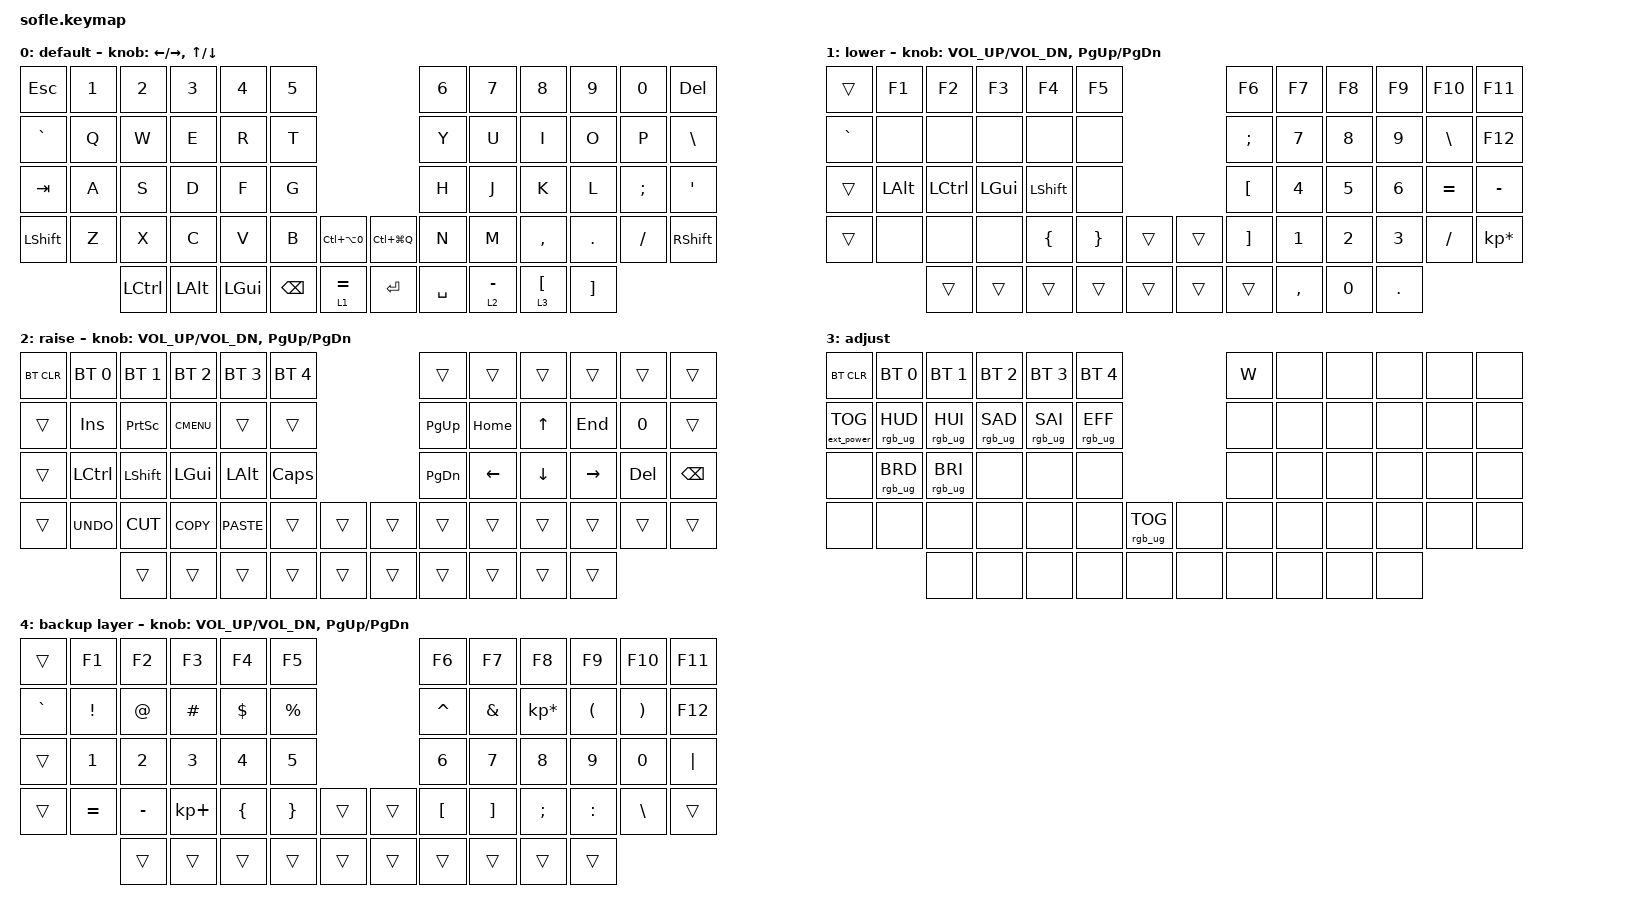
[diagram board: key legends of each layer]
/*
 * Copyright (c) 2020 The ZMK Contributors
 *
 * SPDX-License-Identifier: MIT
 */

#include <behaviors.dtsi>
#include <dt-bindings/zmk/bt.h>
#include <dt-bindings/zmk/ext_power.h>
#include <dt-bindings/zmk/keys.h>
#include <dt-bindings/zmk/rgb.h>

#define BASE 0
#define LOWER 1
#define RAISE 2
#define ADJUST 3

/ {
    // Activate ADJUST layer by pressing raise and lower

    conditional_layers {
        compatible = "zmk,conditional-layers";

        adjust_layer {
            if-layers = <1 2>;
            then-layer = <3>;
        };
    };

    behaviors {
        hold_tap: hold_tap {
            compatible = "zmk,behavior-hold-tap";
            label = "HOLD_TAP";
            bindings = <&mo>, <&kp>;

            #binding-cells = <2>;
            flavor = "tap-preferred";
            tapping-term-ms = <199>;
        };
    };

    keymap {
        compatible = "zmk,keymap";

        default_layer {
            label = "default";

            // ------------------------------------------------------------------------------------------------------------
            // |   `   |  1  |  2  |  3   |  4   |  5   |                   |  6   |  7    |  8    |  9   |   0   |       |
            // |  ESC  |  Q  |  W  |  E   |  R   |  T   |                   |  Y   |  U    |  I    |  O   |   P   | BKSPC |
            // |  TAB  |  A  |  S  |  D   |  F   |  G   |                   |  H   |  J    |  K    |  L   |   ;   |   '   |
            // | SHIFT |  Z  |  X  |  C   |  V   |  B   |  MUTE  |  |       |  N   |  M    |  ,    |  .   |   /   | SHIFT |
            //               | GUI | ALT  | CTRL | LOWER|  ENTER |  | SPACE | RAISE| CTRL  | ALT   | GUI  |

            bindings = <
&kp ESC     &kp N1  &kp N2            &kp N3        &kp N4        &kp N5                                                &kp N6     &kp N7             &kp N8                    &kp N9             &kp N0    &kp DEL
&kp GRAVE   &kp Q   &kp W             &kp E         &kp R         &kp T                                                 &kp Y      &kp U              &kp I                     &kp O              &kp P     &kp BACKSLASH
&kp TAB     &kp A   &kp S             &kp D         &kp F         &kp G                                                 &kp H      &kp J              &kp K                     &kp L              &kp SEMI  &kp SQT
&kp LSHIFT  &kp Z   &kp X             &kp C         &kp V         &kp B          &kp LC(LA(NUMBER_0))    &kp LC(LG(Q))  &kp N      &kp M              &kp COMMA                 &kp DOT            &kp FSLH  &kp RSHFT
                    &kp LEFT_CONTROL  &kp LEFT_ALT  &kp LEFT_GUI  &kp BACKSPACE  &hold_tap 1 EQUAL       &kp RET        &kp SPACE  &hold_tap 2 MINUS  &hold_tap 3 LEFT_BRACKET  &kp RIGHT_BRACKET
            >;

            sensor-bindings =
                <&inc_dec_kp LEFT_ARROW RIGHT_ARROW>,
                <&inc_dec_kp UP_ARROW DOWN_ARROW>;
        };

        lower_layer {
            label = "lower";

            // TODO: Some binds are waiting for shifted keycode support.
            // ------------------------------------------------------------------------------------------------------------
            // |       |  F1 |  F2 |  F3  |  F4  |  F5  |                   |  F6  |  F7   |  F8   |  F9  |  F10  |  F11  |
            // |   `   |  1  |  2  |  3   |  4   |  5   |                   |  6   |  7    |  8    |  9   |   0   |  F12  |
            // |       |  !  |  @  |  #   |  $   |  %   |                   |  ^   |  &    |  *    |  (   |   )   |   |   |
            // |       |  =  |  -  |  +   |  {   |  }   |        |  |       |  [   |  ]    |  ;    |  :   |   \   |       |
            //               |     |      |      |      |        |  |       |      |       |       |      |

            bindings = <
&trans     &kp F1    &kp F2     &kp F3    &kp F4      &kp F5                      &kp F6             &kp F7     &kp F8  &kp F9   &kp F10        &kp F11
&kp GRAVE  &none     &none      &none     &none       &none                       &kp SEMICOLON      &kp N7     &kp N8  &kp N9   &kp BACKSLASH  &kp F12
&trans     &kp LALT  &kp LCTRL  &kp LGUI  &kp LSHIFT  &none                       &kp LEFT_BRACKET   &kp N4     &kp N5  &kp N6   &kp EQUAL      &kp MINUS
&trans     &none     &none      &none     &kp LBRC    &kp RBRC  &trans    &trans  &kp RIGHT_BRACKET  &kp N1     &kp N2  &kp N3   &kp SLASH      &kp KP_MULTIPLY
                     &trans     &trans    &trans      &trans    &trans    &trans  &trans             &kp COMMA  &kp N0  &kp DOT
            >;

            sensor-bindings = <&inc_dec_kp C_VOL_UP C_VOL_DN &inc_dec_kp PG_UP PG_DN>;
        };

        raise_layer {
            label = "raise";

            // ------------------------------------------------------------------------------------------------------------
            // | BTCLR | BT1  | BT2  |  BT3  |  BT4  |  BT5 |                |      |      |       |      |       |       |
            // |       | INS  | PSCR | GUI   |       |      |                | PGUP |      |   ^   |      |       |       |
            // |       | ALT  | CTRL | SHIFT |       | CAPS |                | PGDN |   <- |   v   |  ->  |  DEL  | BKSPC |
            // |       | UNDO | CUT  | COPY  | PASTE |      |      |  |      |      |      |       |      |       |       |
            //                |      |       |       |      |      |  |      |      |      |       |      |

            bindings = <
&bt BT_CLR  &bt BT_SEL 0  &bt BT_SEL 1  &bt BT_SEL 2  &bt BT_SEL 3  &bt BT_SEL 4                    &trans     &trans    &trans    &trans     &trans   &trans
&trans      &kp INS       &kp PSCRN     &kp K_CMENU   &trans        &trans                          &kp PG_UP  &kp HOME  &kp UP    &kp END    &kp N0   &trans
&trans      &kp LCTRL     &kp LSHIFT    &kp LGUI      &kp LALT      &kp CLCK                        &kp PG_DN  &kp LEFT  &kp DOWN  &kp RIGHT  &kp DEL  &kp BSPC
&trans      &kp K_UNDO    &kp K_CUT     &kp K_COPY    &kp K_PASTE   &trans        &trans    &trans  &trans     &trans    &trans    &trans     &trans   &trans
                          &trans        &trans        &trans        &trans        &trans    &trans  &trans     &trans    &trans    &trans
            >;

            sensor-bindings = <&inc_dec_kp C_VOL_UP C_VOL_DN &inc_dec_kp PG_UP PG_DN>;
        };

        adjust_layer {
            // ----------------------------------------------------------------------------------------------------------------------------
            // | BTCLR  |  BT1    |  BT2    |   BT3   |   BT4   |   BT5   |                  |      |      |       |      |       |       |
            // | EXTPWR | RGB_HUD | RGB_HUI | RGB_SAD | RGB_SAI | RGB_EFF |                  |      |      |       |      |       |       |
            // |        | RGB_BRD | RGB_BRI |         |         |         |                  |      |      |       |      |       |       |
            // |        |         |         |         |         |         | RGB_TOG | |      |      |      |       |      |       |       |
            //                    |         |         |         |         |         | |      |      |      |       |      |

            label = "adjust";
            bindings = <
&bt BT_CLR         &bt BT_SEL 0     &bt BT_SEL 1     &bt BT_SEL 2     &bt BT_SEL 3     &bt BT_SEL 4                               &kp W  &none  &none  &none  &none  &none
&ext_power EP_TOG  &rgb_ug RGB_HUD  &rgb_ug RGB_HUI  &rgb_ug RGB_SAD  &rgb_ug RGB_SAI  &rgb_ug RGB_EFF                            &none  &none  &none  &none  &none  &none
&none              &rgb_ug RGB_BRD  &rgb_ug RGB_BRI  &none            &none            &none                                      &none  &none  &none  &none  &none  &none
&none              &none            &none            &none            &none            &none            &rgb_ug RGB_TOG    &none  &none  &none  &none  &none  &none  &none
                                    &none            &none            &none            &none            &none              &none  &none  &none  &none  &none
            >;
        };

        layer_5 {
            label = "backup layer";
            bindings = <
&trans     &kp F1     &kp F2     &kp F3       &kp F4    &kp F5                       &kp F6     &kp F7    &kp F8           &kp F9     &kp F10   &kp F11
&kp GRAVE  &kp EXCL   &kp AT     &kp HASH     &kp DLLR  &kp PRCNT                    &kp CARET  &kp AMPS  &kp KP_MULTIPLY  &kp LPAR   &kp RPAR  &kp F12
&trans     &kp N1     &kp N2     &kp N3       &kp N4    &kp N5                       &kp N6     &kp N7    &kp N8           &kp N9     &kp N0    &kp PIPE
&trans     &kp EQUAL  &kp MINUS  &kp KP_PLUS  &kp LBRC  &kp RBRC   &trans    &trans  &kp LBKT   &kp RBKT  &kp SEMI         &kp COLON  &kp BSLH  &trans
                      &trans     &trans       &trans    &trans     &trans    &trans  &trans     &trans    &trans           &trans
            >;

            sensor-bindings =
                <&inc_dec_kp C_VOL_UP C_VOL_DN>,
                <&inc_dec_kp PG_UP PG_DN>;
        };
    };
};
